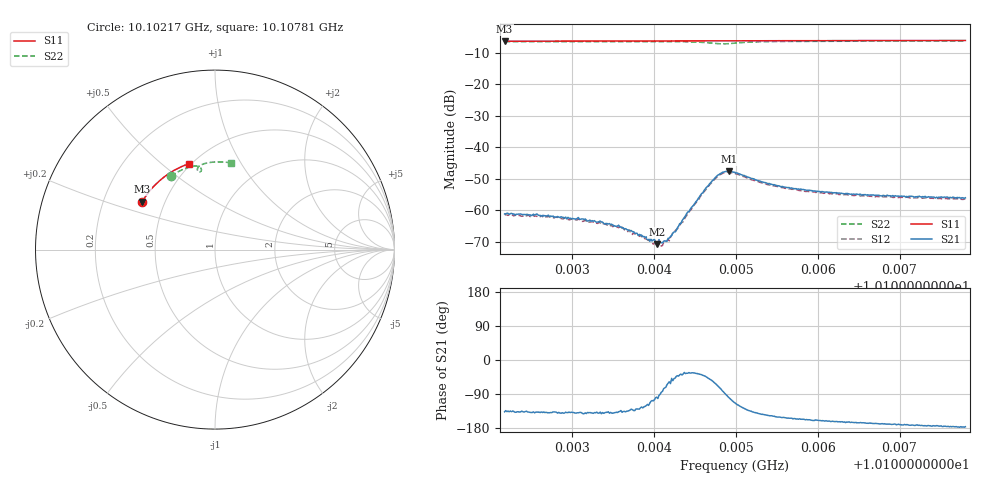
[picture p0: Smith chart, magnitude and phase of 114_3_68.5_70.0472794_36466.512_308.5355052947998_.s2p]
#  HZ  S  RI  R  50.00
! Rohde & Schwarz Vector Network Analyzer
! Rohde-Schwarz,ZNB20-2Port,1311601062101988,3.16
! Created: UTC 3/20/2024, 5:08:50 PM
! freq[Hz]  re:S11  im:S11  re:S21  im:S21  re:S12  im:S12  re:S22  im:S22
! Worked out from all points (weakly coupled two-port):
!   401 points, 10.10217 GHz to 10.10781 GHz, reference 50 ohm
!   highest |S21| = -47.58 dB at 10.10492 GHz (marker M1); lowest = -70.8 dB at 10.10403 GHz (marker M2)
!   lowest |S11| = -6.3 dB at 10.10217 GHz (marker M3), VSWR 2.89, Z = 18.7 + j13 ohm
!   |S11| at or under -10 dB: nowhere
!   |S22| runs from -7.1 to -6.2 dB; largest |S21 - S12| = 0.00042
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1.0102172e10  -0.4054 0.2669  -0.00064 -0.000602  -0.000554 -0.000666  -0.2466 0.4092
1.0102552e10  -0.3932 0.2865  -0.000635 -0.000577  -0.000563 -0.00059  -0.2255 0.4224
1.0103116e10  -0.3735 0.3145  -0.000559 -0.000473  -0.000484 -0.00046  -0.1926 0.4399
1.0103341e10  -0.3649 0.3253  -0.000498 -0.000456  -0.000467 -0.000428  -0.1789 0.4462
1.0103595e10  -0.3553 0.3371  -0.000374 -0.000396  -0.000332 -0.000375  -0.1626 0.4529
1.0103947e10  -0.3409 0.353  -0.000131 -0.000296  -0.0001 -0.000342  -0.1387 0.4609
1.0104031e10  -0.3373 0.3567  -4.13e-05 -0.000287  4.23e-07 -0.00029  -0.1325 0.4623
1.0104059e10  -0.3361 0.3579  -1.99e-05 -0.000345  5.52e-07 -0.00029  -0.1305 0.4627
1.0104116e10  -0.3337 0.3603  7.85e-05 -0.000312  8.07e-05 -0.000294  -0.1261 0.4637
1.0104158e10  -0.3318 0.3622  0.000139 -0.000296  0.000142 -0.000294  -0.1228 0.4643
1.0104242e10  -0.3281 0.3658  0.000297 -0.000343  0.000329 -0.000311  -0.1159 0.4652
1.0104327e10  -0.3246 0.3695  0.000491 -0.000373  0.000509 -0.000367  -0.1086 0.4656
1.0104594e10  -0.3125 0.3804  0.00144 -0.00123  0.00151 -0.00103  -0.083 0.4585
1.0104735e10  -0.3061 0.3859  0.00162 -0.00276  0.00179 -0.00251  -0.0757 0.443
1.0104834e10  -0.3015 0.3896  0.000605 -0.00396  0.00094 -0.00374  -0.0832 0.4332
1.0104918e10  -0.2978 0.3929  -0.000732 -0.00411  -0.000348 -0.00398  -0.0935 0.4352
1.0104989e10  -0.2946 0.3957  -0.00159 -0.00367  -0.0012 -0.00367  -0.0979 0.4429
1.0105411e10  -0.2744 0.4113  -0.00224 -0.00145  -0.00198 -0.00155  -0.0736 0.4738
1.0105932e10  -0.2483 0.429  -0.00192 -0.000729  -0.00176 -0.000874  -0.0358 0.4841
1.0106425e10  -0.2225 0.4443  -0.00173 -0.000476  -0.00162 -0.000618  -0.00235 0.4878
1.0106876e10  -0.1983 0.4567  -0.00168 -0.000315  -0.00159 -0.000446  0.0275 0.4885
1.0107805e10  -0.1463 0.4778  -0.00158 -0.00011  -0.00151 -0.000213  0.0876 0.4838
